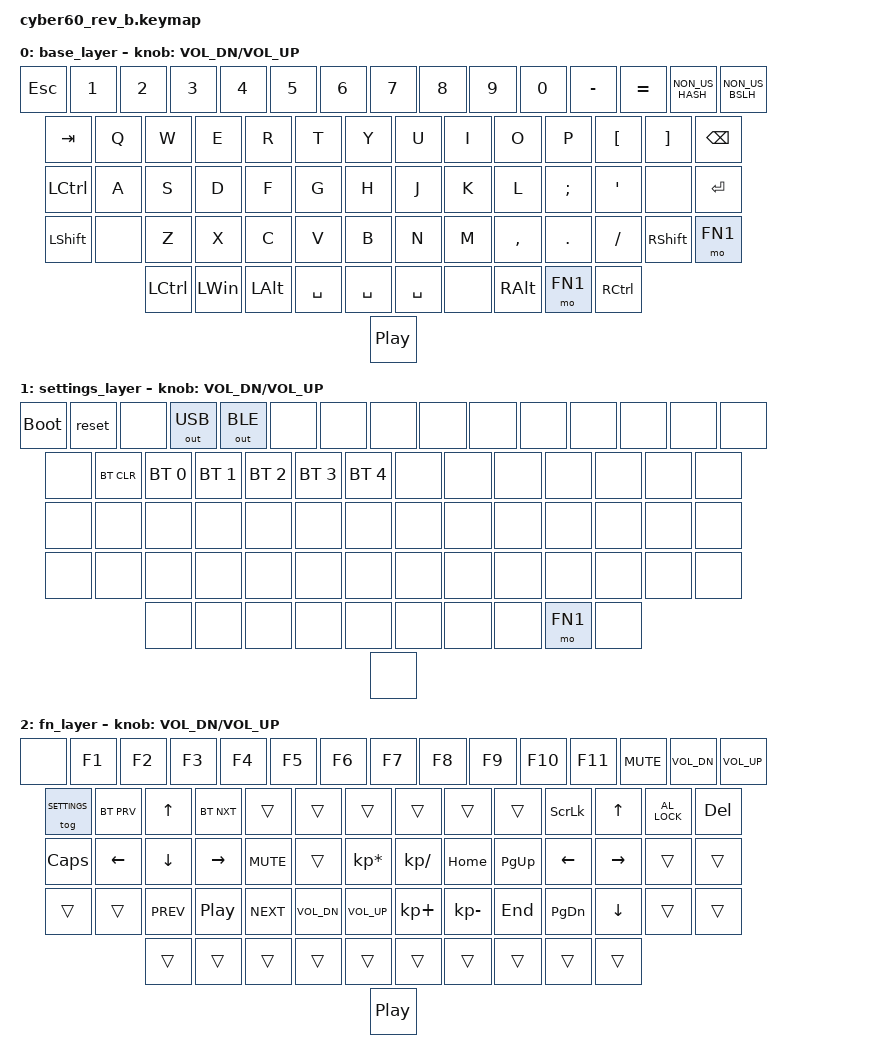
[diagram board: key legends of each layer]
#include <behaviors.dtsi>
#include <dt-bindings/zmk/keys.h>
#include <dt-bindings/zmk/bt.h>
#include <dt-bindings/zmk/outputs.h>
#include <dt-bindings/zmk/rgb.h>
#include <dt-bindings/zmk/ext_power.h>

#define FN1 2
#define SETTINGS 1
/ {
	keymap {
		compatible = "zmk,keymap";
		base_layer {
// Base layer with ctrl at backspace position
// ------------------------------------------------------------------------------------------
// | ESC |  1  |  2  |  3  |  4  |  5  |  6  |  7  |  8  |  9  |  0  |  -  |  =  | NUBS|NUHS|
// |  TAB |  Q  |  W  |  E  |  R  |  T  |  Y  |  U  |  I  |  O  |  P  |  [  |  ]  |   "|"   |
// | CTRL  |  A  |  S  |  D  |  F  |  G  |  H  |  J  |  K  |  L  |  ;  |  '  |none| ENTER   |
// | SHIFT |none| Z |  X  |  C  |  V  |  B  |  N  |  M  |  ,  |  .  |  /  |    Shift   | FN |
// | 	  |  LWIN  |  LALT  |           SPACE                         |  RALT | FN  |       |
// | Rotary | (<-- Rotary switch) ----------------------------------------------------------- 
				bindings = <
	&kp ESC		 &kp N1 	&kp N2	&kp N3 	&kp N4 &kp N5 &kp N6 	&kp N7 	&kp N8 &kp N9	&kp N0	&kp MINUS	&kp EQUAL  	&kp NON_US_HASH	&kp NON_US_BSLH
	&kp TAB		 &kp   Q   	&kp   W   	&kp   E   	&kp   R   &kp   T   &kp   Y   	&kp   U   	&kp   I   &kp   O   &kp   P   	&kp LBKT 	&kp RBKT	&kp BSPC
	&kp LCTRL 	 &kp   A   	&kp   S   	&kp   D   	&kp   F   &kp   G   &kp   H   	&kp   J   	&kp   K   &kp   L   &kp  SEMI  	&kp  SQT   &none		&kp RET
	&kp LSHIFT 	 &none		&kp   Z   	&kp   X   	&kp   C   &kp   V   &kp   B   	&kp   N   	&kp   M   &kp  COMMA &kp  DOT  	&kp  FSLH	&kp RSHIFT 	&mo FN1
	&kp LCTRL 	 &kp LWIN   &kp   LALT				&kp SPACE			&kp SPACE			&kp  SPACE  			 &none  &kp  RALT 	&mo  FN1	&kp  RCTRL		
	&kp C_PP
			>;
			sensor-bindings = <&inc_dec_kp C_VOL_DN C_VOL_UP>;
		};
		settings_layer {
// Settings layer to change keyboard behaviour
// ------------------------------------------------------------------------------------------
// | RST |BOOTL| EXIT | USB | BLE | NON | NON | NON | NON | NON | NON | NON | NON | NON |NON |
// | NON  |BTCLR| BT0 | BT1 | BT2 | BT3 | BT4 | NON | NON | NON | NON | NON | NON |   NON   |
// |  NON  | NON | NON | NON | NON | NON | NON | NON | NON | NON | NON | NON | NON |  NON   |
// |  NON | NON|U_TG|U_BRD|U_BRI|U_EFR|U_HUD|U_HUI|U_SAD|U_SAI|U_SPD|U_SPI|    NON    | NON |
// |   NON  |  NON   |  NON   |   NON  | NON |    NON       |  NON  |  NON  |  NON  |  NON  |
// | Rotary | (<-- Rotary switch) ----------------------------------------------------------- 
				bindings = <
	&bootloader  &reset   &none	&out OUT_USB	&out OUT_BLE	&none 	&none 		&none 	&none	&none	&none			&none			&none  			&none			&none
	&none 	&bt BT_CLR  &bt BT_SEL 0  	&bt BT_SEL 1   	&bt BT_SEL 2	&bt BT_SEL 3   	&bt BT_SEL 4   		&none	&none   &none	&none   		&none			&none			&none
	&none	&none   	&none   		&none   		&none   		&none   		&none   			&none   &none	&none   &none			&none			&none   		&none
	&none	&none	&none &none &none &none &none &none	&none	&none	&none	&none	&none 	&none
	&none	&none    	&none							&none			&none			&none  				&none	 	&none	&mo  FN1		&none	
	&none	
			>;
			sensor-bindings = <&inc_dec_kp C_VOL_DN C_VOL_UP>;
		};
		fn_layer {
// Function layer
// ------------------------------------------------------------------------------------------
// | BOOT |  F1 |  F2 |  F3 |  F4 |  F5 |  F6 |  F7 |  F8 |  F9 | F10 | F11 | F12 |INS | RST|
// | TAB  |BTPRV|  UP |BTNXT| TOG0| TOG1| TOG2| BT3 | BT4 | PRNT| SLCKL | UP  | LOCK |  DEL |
// | CAPS  |LEFT |DOWN |RIGHT|MUTE |  G  |  *  |  /  | HOME| PGUP| LEFT|RIGHT|none|  ENTER  |
// | SHIFT |none|PRV|PLAYP|NEXT | VOLD| VOLU|  +  |  -  | END | PGDN| DOWN|    Shift   | FN |
// |  LCTL  |  LGUI  |  LWIN  |  RALT  | FN |     SPACE     |  RALT |  RWIN | RMENU | RCTRL |
// | Rotary | (<-- Rotary switch) ----------------------------------------------------------- 
			bindings = <
	&none 	&kp F1		&kp F2 	 		&kp F3			&kp F4			&kp F5			&kp F6			&kp F7			&kp F8			&kp F9			&kp F10		&kp F11		&kp C_MUTE		&kp C_VOL_DN	&kp C_VOL_UP
	&tog SETTINGS				&bt BT_PRV  &kp UP   		&bt BT_NXT		&trans			&trans			&trans			&trans			&trans			&trans			&kp SLCK	&kp UP		&kp C_AL_LOCK	&kp DEL
	&kp CLCK 		&kp LEFT   	&kp DOWN		&kp RIGHT		&kp K_MUTE		&trans			&kp KP_ASTERISK	&kp KP_SLASH	&kp HOME		&kp PG_UP		&kp LEFT	&kp RIGHT	&trans		&trans
	&trans 			&trans   	&kp C_PREV   	&kp C_PP	 	&kp C_NEXT 		&kp C_VOL_DN	&kp C_VOL_UP	&kp KP_PLUS		&kp KP_MINUS	&kp END			&kp PG_DN	&kp DOWN	&trans 		&trans
	&trans 			&trans   	&trans             				&trans			&trans			&trans  		&trans  		&trans			&trans			&trans		
	&kp C_PP
			>;
			sensor-bindings = <&inc_dec_kp C_VOL_DN C_VOL_UP>;
		};
	};
};
